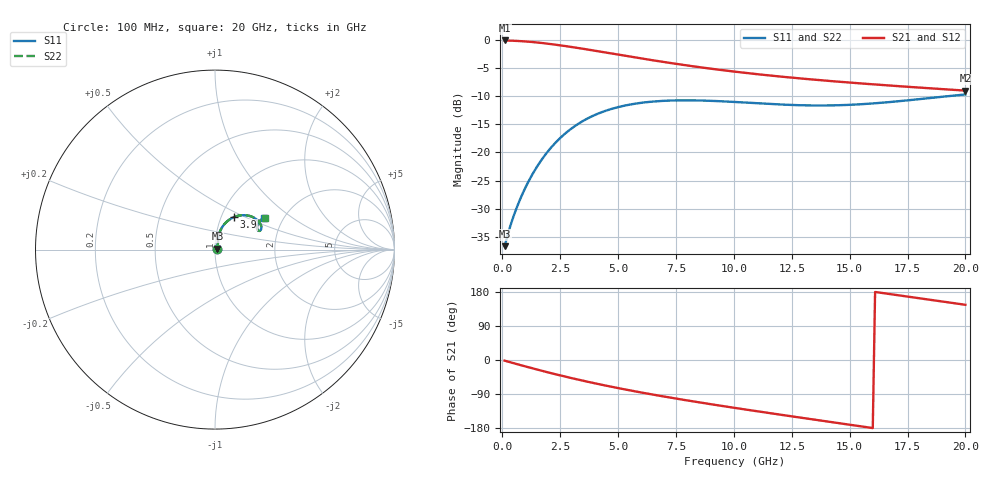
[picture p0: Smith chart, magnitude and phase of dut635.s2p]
! Touchstone file exported from HFSS 2024.1.0
!  File:  C:/UserFiles/LocalFiles/RDL_TSV_Batchsim/temp_RDL_TSV_635_1779805360.aedt
!  Generated:  10:43:19 PM May 26, 2026
!  Design:  RDL_TSV
!  Project:  temp_RDL_TSV_635_1779805360
!  Setup:  Setup1
!  Solution:  Sweep
! Variables:
!  dtsv = 6.95um
!  hbump = 3um
!  htsv = 69.44um
!  ldown = 559.42um
!  lrdl = 390.05um
!  p = 40
!  p1 = 48.03um
!  rhole = 10um
!  subl = 3238.46um
!  t = 450um
!  tdown = 4.43um
!  trdl = 4.65um
!  viad = 10um
!  wdown = 23.81um
!  wrdl = 17.79um
!  xbump = 18um
# GHz S MA R 50.000000
! Terminal data exported
! Port[1] = TM1_1_T1
! Port[2] = TM1_4_T1
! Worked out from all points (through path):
!   200 points, 100 MHz to 20 GHz, reference 50 ohm
!   highest |S21| = -0.12 dB at 100 MHz (marker M1); lowest = -9.0 dB at 20 GHz (marker M2)
!   group delay of S21, straight-line fit = 28.2 ps
!   lowest |S11| = -36.6 dB at 100 MHz (marker M3), VSWR 1.03, Z = 51.4 + j0.538 ohm
!   |S11| at or under -10 dB: start of sweep to 19.28 GHz
!   |S22| runs from -36.6 to -9.7 dB; largest |S21 - S12| = 6.2e-14
!   S11 on the Smith chart (normalised r, x): 100 MHz: 1.03, +0.01; 3.9 GHz: 1.15, +0.44; 20 GHz: 1.61, +0.64
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0.1  0.01474 20.8  0.986 -1.8  0.986 -1.8  0.01474 20.8
! Gamma 0 0 0 0
! Port Impedance 50 0 50 0
0.4  0.02411 50.5  0.9817 -6.9  0.9817 -6.9  0.0241 50.5
0.7  0.03547 63.7  0.9752 -12.0  0.9752 -12.0  0.03546 63.7
1.1  0.05372 72.1  0.9627 -18.6  0.9627 -18.6  0.05372 72.1
1.5  0.0749 75.1  0.9462 -25.2  0.9462 -25.2  0.07489 75.1
1.9  0.09809 75.1  0.9265 -31.5  0.9265 -31.5  0.09809 75.1
2.4  0.1283 72.6  0.8987 -39.1  0.8987 -39.1  0.1283 72.7
2.9  0.1581 68.8  0.8686 -46.5  0.8686 -46.5  0.1581 68.8
3.5  0.1911 63.3  0.8311 -54.9  0.8311 -54.9  0.1912 63.3
3.9  0.2107 59.5  0.806 -60.2  0.806 -60.2  0.2108 59.5
4.5  0.2357 53.8  0.7689 -68.0  0.7689 -68.0  0.2358 53.9
5.2  0.2583 47.7  0.7274 -76.5  0.7274 -76.5  0.2584 47.8
6  0.2758 41.5  0.6833 -85.7  0.6833 -85.7  0.276 41.5
6.8  0.2858 36.1  0.6432 -94.5  0.6432 -94.5  0.2861 36.2
8.4  0.2896 28.2  0.5755 -110.8  0.5755 -110.8  0.29 28.2
10.1  0.2801 23.7  0.5195 -126.9  0.5195 -126.9  0.2806 23.7
11.7  0.2684 22.8  0.4785 -141.5  0.4785 -141.5  0.2689 22.8
13.4  0.2613 24.9  0.4439 -156.7  0.4439 -156.7  0.2618 24.8
15  0.2647 28.2  0.4171 -170.8  0.4171 -170.8  0.2651 28.1
16.7  0.2797 31.4  0.3929 174.3  0.3929 174.3  0.2801 31.3
18.4  0.3029 32.9  0.3717 159.5  0.3717 159.5  0.3031 32.8
20  0.3272 32.7  0.354 145.7  0.354 145.7  0.3273 32.6
